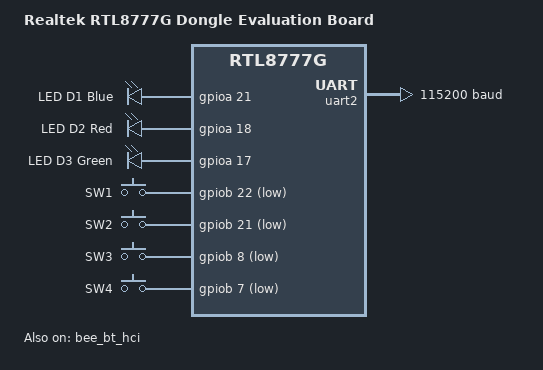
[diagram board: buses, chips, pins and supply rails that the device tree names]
/*
 * Copyright (c) 2025 Realtek Semiconductor Corp.
 *
 * SPDX-License-Identifier: Apache-2.0
 */

/dts-v1/;
#include <realtek/rtl87x2g.dtsi>
#include <zephyr/dt-bindings/input/input-event-codes.h>
#include "rtl8777g_dongle-pinctrl.dtsi"

/ {
	model = "Realtek RTL8777G Dongle Evaluation Board";
	compatible = "realtek,rtl8777g_dongle";

	chosen {
		zephyr,sram = &tcm0;
		zephyr,flash = &flash;
		zephyr,code-partition = &app_partition;
		zephyr,itcm = &tcm1;
		zephyr,console = &uart2;
		zephyr,shell-uart = &uart2;
		zephyr,flash-controller = &fmc;
		zephyr,bt-hci = &bee_bt_hci;
		zephyr,entropy = &trng;
	};

	aliases {
		led0 = &led0;
		sw0 = &button0;
		sw1 = &button1;
		sw2 = &button2;
		sw3 = &button3;
	};

	leds {
		compatible = "gpio-leds";

		led0: led0 {
			gpios = <&gpioa 21 GPIO_ACTIVE_HIGH>;
			label = "LED D1 Blue";
		};

		led1: led1 {
			gpios = <&gpioa 18 GPIO_ACTIVE_HIGH>;
			label = "LED D2 Red";
		};

		led2: led2 {
			gpios = <&gpioa 17 GPIO_ACTIVE_HIGH>;
			label = "LED D3 Green";
		};
	};

	buttons {
		compatible = "gpio-keys";
		status = "okay";

		button0: button_0 {
			gpios = <&gpiob 22 (GPIO_PULL_UP | GPIO_ACTIVE_LOW)>;
			label = "SW1";
			zephyr,code = <INPUT_KEY_0>;
		};

		button1: button_1 {
			gpios = <&gpiob 21 (GPIO_PULL_UP | GPIO_ACTIVE_LOW)>;
			label = "SW2";
			zephyr,code = <INPUT_KEY_1>;
		};

		button2: button_2 {
			gpios = <&gpiob 8 (GPIO_PULL_UP | GPIO_ACTIVE_LOW)>;
			label = "SW3";
			zephyr,code = <INPUT_KEY_2>;
		};

		button3: button_3 {
			gpios = <&gpiob 7 (GPIO_PULL_UP | GPIO_ACTIVE_LOW)>;
			label = "SW4";
			zephyr,code = <INPUT_KEY_3>;
		};
	};

};

&flash {
	reg = <0x4000000 DT_SIZE_K(4096)>;
	partitions {
		compatible = "fixed-partitions";
		#address-cells = <1>;
		#size-cells = <1>;
		reserved: partition@0 {
			label = "reserved-image";
			reg = <0x0 DT_SIZE_K(4)>;
		};
		config_file: partition@1000 {
			label = "config-file-image";
			reg = <0x1000 DT_SIZE_K(4)>;
		};
		boot_patch_0: partition@2000 {
			label = "boot-patch-0-image";
			reg = <0x2000 DT_SIZE_K(32)>;
		};
		boot_patch_1: partition@a000 {
			label = "boot-patch-1-image";
			reg = <0xA000 DT_SIZE_K(32)>;
		};
		ota_header: partition@12000 {
			label = "ota-header-image";
			reg = <0x12000 DT_SIZE_K(4)>;
		};
		system_patch: partition@13000 {
			label = "system-patch-image";
			reg = <0x13000 DT_SIZE_K(32)>;
		};
		stack_patch: partition@1b000 {
			label = "stack-patch-image";
			reg = <0x1B000 DT_SIZE_K(72)>;
		};
		app_partition: partition@2d000 {
			label = "app-image";
			reg = <0x2D000 DT_SIZE_K(3900)>;
		};
		storage_partition: partition@3fc000 {
			label = "storage";
			reg = <0x3FC000 DT_SIZE_K(16)>;
		};
	};
};

&cpu {
	clock-frequency = <40000000>;
};

&gpioa {
	status = "okay";
};

&gpiob {
	status = "okay";
};

&uart2 {
	pinctrl-0 = <&uart2_default>;
	pinctrl-names = "default";
	status = "okay";
	current-speed = <115200>;
	parity = "none";
	stop-bits = "1";
	data-bits = <8>;
};

&bee_bt_hci {
	status = "okay";
};
